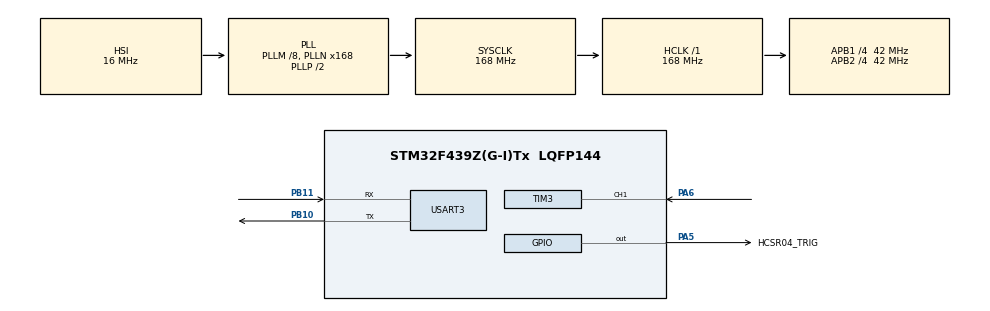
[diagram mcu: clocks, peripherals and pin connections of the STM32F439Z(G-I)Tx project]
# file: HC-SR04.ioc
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Mcu.Family=STM32F4
Mcu.Name=STM32F439Z(G-I)Tx
Mcu.Package=LQFP144
NVIC.PriorityGroup=NVIC_PRIORITYGROUP_4
NVIC.TIM3_IRQn=true\:0\:0\:false\:false\:true\:true\:true\:true
PA5.GPIO_Label=HCSR04_TRIG
PA5.GPIO_PuPd=GPIO_NOPULL
PA5.GPIO_Speed=GPIO_SPEED_FREQ_VERY_HIGH
PA5.Signal=GPIO_Output
PA6.Signal=S_TIM3_CH1
PB10.Mode=Asynchronous
PB10.Signal=USART3_TX
PB11.Mode=Asynchronous
PB11.Signal=USART3_RX
ProjectManager.HeapSize=0x200
ProjectManager.StackSize=0x400
ProjectManager.TargetToolchain=Makefile
RCC.48MHZClocksFreq_Value=48000000
RCC.AHBFreq_Value=168000000
RCC.APB1CLKDivider=RCC_HCLK_DIV4
RCC.APB1Freq_Value=42000000
RCC.APB1TimFreq_Value=84000000
RCC.APB2CLKDivider=RCC_HCLK_DIV4
RCC.APB2Freq_Value=42000000
RCC.APB2TimCLKDivider=2
RCC.APB2TimFreq_Value=84000000
RCC.CortexFreq_Value=168000000
RCC.HCLKFreq_Value=168000000
RCC.HSE_VALUE=8000000
RCC.HSI_VALUE=16000000
RCC.LSE_VALUE=32768
RCC.PLLM=8
RCC.PLLMUL=RCC_PLL_MUL9
RCC.PLLN=168
RCC.PLLQ=7
RCC.PRESCALERUSB=RCC_USBCLKSOURCE_PLL_DIV1_5
RCC.SYSCLKFreq_VALUE=168000000
RCC.SYSCLKSource=RCC_SYSCLKSOURCE_PLLCLK
RCC.SYSCLKSourceVirtual=RCC_SYSCLKSOURCE_PLLCLK
RCC.USBFreq_Value=48000000
RCC.VCOOutputFreq_Value=336000000
SH.S_TIM3_CH1.0=TIM3_CH1,Input_Capture1_from_TI1
TIM3.Channel-Input_Capture1_from_TI1=TIM_CHANNEL_1
USART3.VirtualMode=VM_ASYNC
VP_TIM3_VS_ClockSourceINT.Mode=Internal
board=NUCLEO-F439ZI

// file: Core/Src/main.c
/* USER CODE BEGIN Header */
/**
  ******************************************************************************
  * @file           : main.c
  * @brief          : Main program body
  ******************************************************************************
  * @attention
  *
  * Copyright (c) 2025 STMicroelectronics.
  * All rights reserved.
  *
  * This software is licensed under terms that can be found in the LICENSE file
  * in the root directory of this software component.
  * If no LICENSE file comes with this software, it is provided AS-IS.
  *
  ******************************************************************************
  */
/* USER CODE END Header */
#include "main.h"
#include "tim.h"
#include "usart.h"
#include "gpio.h"

/* USER CODE BEGIN Includes */
#include <stdio.h>
#include <string.h>
/* USER CODE END Includes */

/* USER CODE BEGIN PV */

static volatile uint32_t ic_rising = 0U;
static volatile uint32_t ic_falling = 0U;
static volatile uint8_t capture_done = 0U;

/* USER CODE END PV */

void SystemClock_Config(void);
/* USER CODE BEGIN PFP */

static void DWT_Delay_Init(void);
static void delay_us(uint32_t us);
static float HCSR04_Read(void);

/* USER CODE END PFP */

/* USER CODE BEGIN 0 */

static void DWT_Delay_Init(void)
{
  CoreDebug->DEMCR |= CoreDebug_DEMCR_TRCENA_Msk;
  DWT->CTRL |= DWT_CTRL_CYCCNTENA_Msk;
}

static void delay_us(uint32_t us)
{
  uint32_t start = DWT->CYCCNT;
  uint32_t cycles = (HAL_RCC_GetHCLKFreq() / 1000000U) * us;
  while ((DWT->CYCCNT - start) < cycles)
  {
  }
}

static float HCSR04_Read(void)
{
  capture_done = 0U;
  __HAL_TIM_SET_COUNTER(&htim3, 0U);

  HAL_GPIO_WritePin(HCSR04_TRIG_GPIO_Port, HCSR04_TRIG_Pin, GPIO_PIN_RESET);
  delay_us(2U);
  HAL_GPIO_WritePin(HCSR04_TRIG_GPIO_Port, HCSR04_TRIG_Pin, GPIO_PIN_SET);
  delay_us(10U);
  HAL_GPIO_WritePin(HCSR04_TRIG_GPIO_Port, HCSR04_TRIG_Pin, GPIO_PIN_RESET);

  uint32_t timeout = HAL_GetTick() + 50U;
  while (capture_done < 2U)
  {
    if (HAL_GetTick() > timeout)
    {
      capture_done = 0U;
      return -1.0f;
    }
  }

  uint32_t start = ic_rising;
  uint32_t end = ic_falling;
  uint32_t ticks = (end >= start) ? (end - start) : ((0x10000UL - start) + end);

  uint32_t timer_clk = HAL_RCC_GetPCLK1Freq();
  if ((RCC->CFGR & RCC_CFGR_PPRE1) != RCC_CFGR_PPRE1_DIV1)
  {
    timer_clk *= 2U;
  }
  float tick_us = 1e6f / (float)timer_clk * (float)(htim3.Init.Prescaler + 1U);
  float duration_us = ticks * tick_us;

  return (duration_us * 0.0343f) / 2.0f;
}

/* USER CODE END 0 */

int main(void)
{

  /* MCU Configuration--------------------------------------------------------*/

  /* Reset of all peripherals, Initializes the Flash interface and the Systick. */
  HAL_Init();

  /* Configure the system clock */
  SystemClock_Config();

  /* Initialize all configured peripherals */
  MX_GPIO_Init();
  MX_TIM3_Init();
  MX_USART3_UART_Init();
  /* USER CODE BEGIN 2 */
  DWT_Delay_Init();
  HAL_TIM_IC_Start_IT(&htim3, TIM_CHANNEL_1);
  /* USER CODE END 2 */

  /* Infinite loop */
  while (1)
  {

    /* USER CODE BEGIN 3 */
    float distance_cm = HCSR04_Read();

    if (distance_cm >= 0.0f)
    {
      char msg[64];
      int len = snprintf(msg, sizeof(msg), "Distance: %.2f cm\r\n", distance_cm);
      HAL_UART_Transmit(&huart3, (uint8_t *)msg, len, HAL_MAX_DELAY);
    }
    else
    {
      const char *timeout = "Sensor timeout\r\n";
      HAL_UART_Transmit(&huart3, (uint8_t *)timeout, strlen(timeout), HAL_MAX_DELAY);
    }

    HAL_Delay(100);
  }
  /* USER CODE END 3 */
}

void SystemClock_Config(void)
{
  RCC_OscInitTypeDef RCC_OscInitStruct = {0};
  RCC_ClkInitTypeDef RCC_ClkInitStruct = {0};

  /** Configure the main internal regulator output voltage
  */
  __HAL_RCC_PWR_CLK_ENABLE();
  __HAL_PWR_VOLTAGESCALING_CONFIG(PWR_REGULATOR_VOLTAGE_SCALE1);

  /** Initializes the RCC Oscillators according to the specified parameters
  * in the RCC_OscInitTypeDef structure.
  */
  RCC_OscInitStruct.OscillatorType = RCC_OSCILLATORTYPE_HSI;
  RCC_OscInitStruct.HSIState = RCC_HSI_ON;
  RCC_OscInitStruct.HSICalibrationValue = RCC_HSICALIBRATION_DEFAULT;
  RCC_OscInitStruct.PLL.PLLState = RCC_PLL_ON;
  RCC_OscInitStruct.PLL.PLLSource = RCC_PLLSOURCE_HSI;
  RCC_OscInitStruct.PLL.PLLM = 8;
  RCC_OscInitStruct.PLL.PLLN = 168;
  RCC_OscInitStruct.PLL.PLLP = RCC_PLLP_DIV2;
  RCC_OscInitStruct.PLL.PLLQ = 7;
  if (HAL_RCC_OscConfig(&RCC_OscInitStruct) != HAL_OK)
  {
    Error_Handler();
  }

  /** Initializes the CPU, AHB and APB buses clocks
  */
  RCC_ClkInitStruct.ClockType = RCC_CLOCKTYPE_HCLK|RCC_CLOCKTYPE_SYSCLK
                              |RCC_CLOCKTYPE_PCLK1|RCC_CLOCKTYPE_PCLK2;
  RCC_ClkInitStruct.SYSCLKSource = RCC_SYSCLKSOURCE_PLLCLK;
  RCC_ClkInitStruct.AHBCLKDivider = RCC_SYSCLK_DIV1;
  RCC_ClkInitStruct.APB1CLKDivider = RCC_HCLK_DIV4;
  RCC_ClkInitStruct.APB2CLKDivider = RCC_HCLK_DIV4;

  if (HAL_RCC_ClockConfig(&RCC_ClkInitStruct, FLASH_LATENCY_5) != HAL_OK)
  {
    Error_Handler();
  }
}

/* USER CODE BEGIN 4 */

void HAL_TIM_IC_CaptureCallback(TIM_HandleTypeDef *htim)
{
  if (htim->Instance != TIM3 || htim->Channel != HAL_TIM_ACTIVE_CHANNEL_1)
  {
    return;
  }

  if (capture_done == 0U)
  {
    ic_rising = HAL_TIM_ReadCapturedValue(htim, TIM_CHANNEL_1);
    __HAL_TIM_SET_CAPTUREPOLARITY(htim, TIM_CHANNEL_1, TIM_INPUTCHANNELPOLARITY_FALLING);
    capture_done = 1U;
  }
  else
  {
    ic_falling = HAL_TIM_ReadCapturedValue(htim, TIM_CHANNEL_1);
    capture_done = 2U;
    __HAL_TIM_SET_CAPTUREPOLARITY(htim, TIM_CHANNEL_1, TIM_INPUTCHANNELPOLARITY_RISING);
  }
}

/* USER CODE END 4 */

void Error_Handler(void)
{
  __disable_irq();
  while (1)
  {
  }
}
